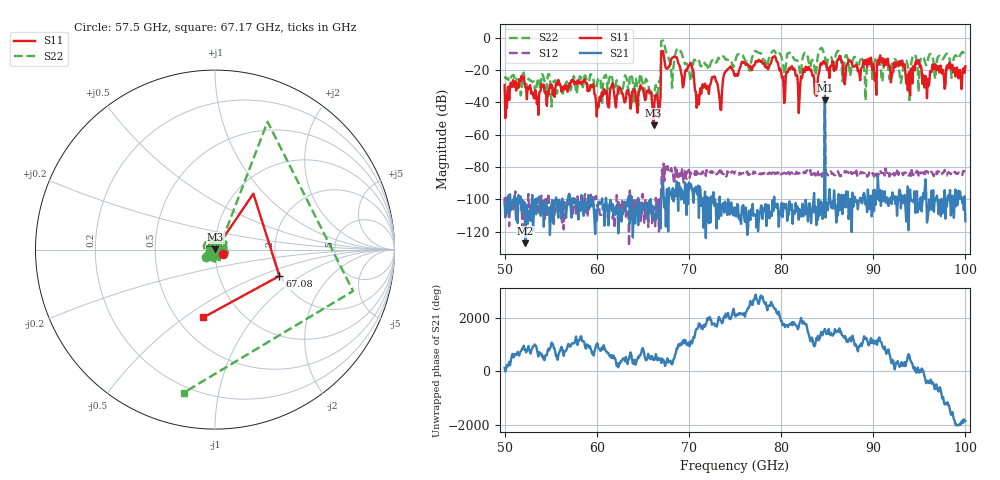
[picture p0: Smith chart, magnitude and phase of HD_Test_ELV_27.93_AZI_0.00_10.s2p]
! 11/25/2026 9:14:07 AM
! C:\ANRITSUVNA\TEMP\TEMP.S2P
! CHANNEL.1
! TR.MEASUREMENT
! RAW.DATA
# HZ S RI R 50.0
! FREQ.HZ  S11RE  S11IM  S21RE  S21IM  S12RE  S12IM  S22RE  S22IM
!; PortSelection: Port_12
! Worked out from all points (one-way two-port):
!   601 points, 50 GHz to 100 GHz, reference 50 ohm
!   highest |S21| = -38.62 dB at 84.75 GHz (marker M1); lowest = -127.0 dB at 52.25 GHz (marker M2)
!   lowest |S11| = -54.2 dB at 66.17 GHz (marker M3), VSWR 1.00, Z = 50.1 + j0.155 ohm
!   |S11| at or under -10 dB: start of sweep to 67 GHz; 67.24 GHz to end of sweep
!   |S22| runs from -42.7 to -1.8 dB; largest |S21 - S12| = 0.058
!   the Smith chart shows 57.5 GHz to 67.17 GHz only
!   S11 on the Smith chart (normalised r, x): 57.5 GHz: 1.09, -0.05; 67.08 GHz: 1.96, -0.68; 67.17 GHz: 0.67, -0.59
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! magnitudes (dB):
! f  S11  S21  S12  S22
! 50 GHz  -29.2  -101.3  -98.6  -25.3
! 52.25 GHz  -30.8  -127.0  -103.3  -29.3
! 57.5 GHz  -26.3  -99.2  -99.2  -23.7
! 58.42 GHz  -27.2  -101.5  -104.7  -29.0
! 60.17 GHz  -43.1  -101.9  -102.1  -24.8
! 61.67 GHz  -28.7  -107.1  -108.5  -24.5
! 66.17 GHz  -54.2  -109.0  -104.4  -35.3
! 66.67 GHz  -41.9  -108.6  -100.2  -32.1
! 67.08 GHz  -8.2  -94.3  -81.5  -1.9
! 67.17 GHz  -8.3  -88.8  -94.9  -1.8
! 70.17 GHz  -15.5  -90.3  -83.3  -25.7
! 70.92 GHz  -40.8  -96.9  -84.4  -13.3
! 75 GHz  -23.7  -105.0  -83.3  -15.0
! 79.25 GHz  -11.8  -98.3  -82.6  -7.9
! 80.25 GHz  -27.5  -105.1  -83.9  -17.7
! 83.42 GHz  -23.7  -107.9  -82.6  -13.8
! 84.75 GHz  -15.9  -38.6  -26.7  -10.9
! 91.67 GHz  -16.7  -104.0  -82.9  -20.5
! 93.75 GHz  -32.6  -91.9  -84.6  -17.3
! 94.83 GHz  -15.0  -107.9  -83.2  -20.3
! 95.83 GHz  -37.4  -114.3  -82.6  -15.9
! 100 GHz  -17.7  -113.5  -82.8  -12.2
